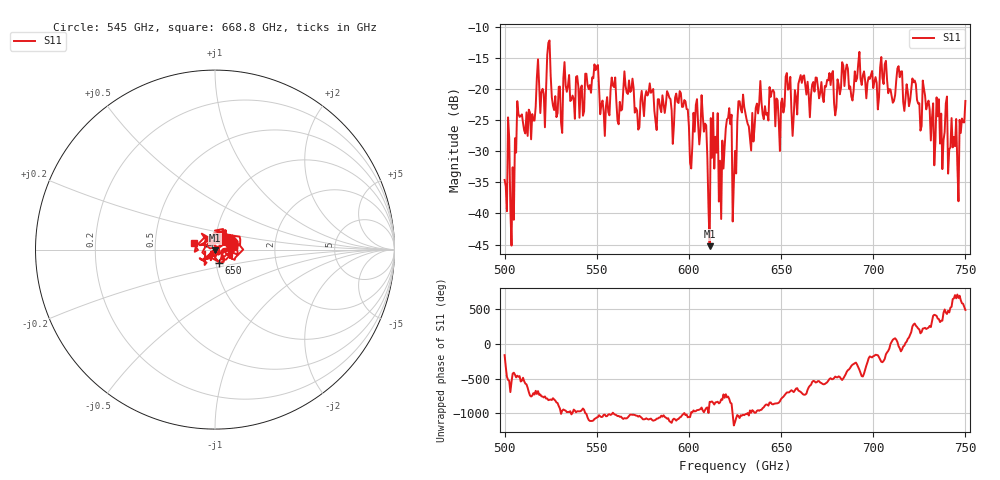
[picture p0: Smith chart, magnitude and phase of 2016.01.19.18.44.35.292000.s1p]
!Created with skrf (http://scikit-rf.org).
# GHz S RI R 50.0
!freq ReS11 ImS11
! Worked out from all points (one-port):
!   401 points, 500 GHz to 750 GHz, reference 50 ohm
!   lowest |S11| = -45.3 dB at 611.2 GHz (marker M1), VSWR 1.01, Z = 49.8 - j0.497 ohm
!   |S11| at or under -10 dB: start of sweep to end of sweep
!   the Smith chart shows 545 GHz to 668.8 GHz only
!   S11 on the Smith chart (normalised r, x): 545 GHz: 1.22, +0.10; 650 GHz: 1.03, -0.15; 668.8 GHz: 0.79, +0.06
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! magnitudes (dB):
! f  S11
! 500 GHz  -34.6
! 504.4 GHz  -32.6
! 508.1 GHz  -24.5
! 515.6 GHz  -25.1
! 523.8 GHz  -12.6
! 527.5 GHz  -21.2
! 531.2 GHz  -27.1
! 545 GHz  -19.4
! 562.5 GHz  -22.1
! 593.8 GHz  -22.1
! 600.6 GHz  -31.9
! 608.1 GHz  -26.9
! 611.2 GHz  -45.3
! 614.4 GHz  -27.7
! 617.5 GHz  -40.9
! 621.9 GHz  -23.1
! 625 GHz  -30.0
! 628.1 GHz  -23.3
! 633.8 GHz  -29.9
! 645 GHz  -20.4
! 650 GHz  -22.3
! 653.8 GHz  -20.1
! 656.2 GHz  -27.6
! 668.8 GHz  -18.2
! 687.5 GHz  -19.6
! 718.8 GHz  -20.5
! 745 GHz  -24.8
! 750 GHz  -22.0
